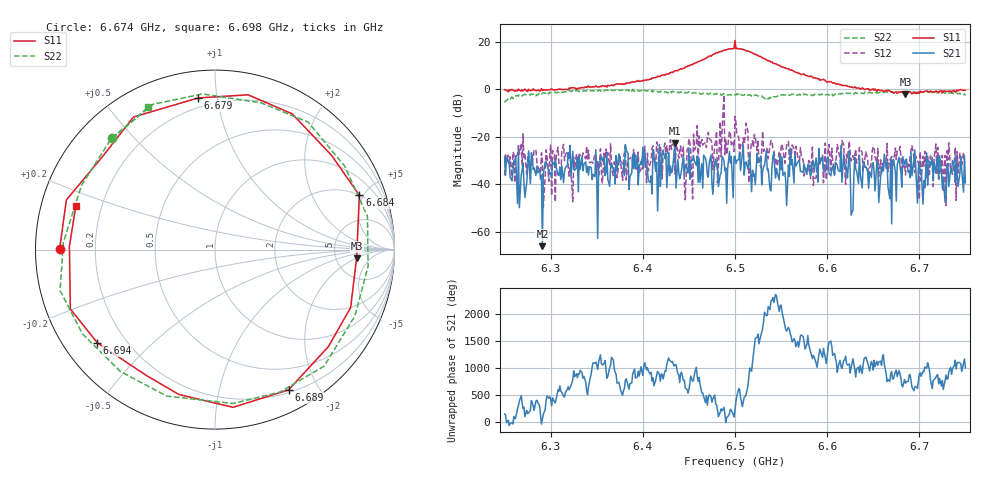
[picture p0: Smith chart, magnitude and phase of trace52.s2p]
# Hz S RI R 50
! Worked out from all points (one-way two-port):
!   401 points, 6.25 GHz to 6.75 GHz, reference 50 ohm
!   highest |S21| = -22.84 dB at 6.435 GHz (marker M1); lowest = -66.1 dB at 6.291 GHz (marker M2)
!   lowest |S11| = -2.0 dB at 6.685 GHz (marker M3), VSWR 8.54, Z = 401 - j101 ohm
!   |S11| at or under -10 dB: nowhere
!   |S22| runs from -5.7 to -0.1 dB; largest |S21 - S12| = 0.79
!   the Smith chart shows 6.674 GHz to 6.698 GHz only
!   S11 on the Smith chart (normalised r, x): 6.674 GHz: 0.07, +0.00; 6.679 GHz: 0.14, +0.88; 6.684 GHz: 2.02, +4.66; 6.689 GHz: 0.23, -1.63; 6.694 GHz: 0.10, -0.34; 6.698 GHz: 0.11, +0.15
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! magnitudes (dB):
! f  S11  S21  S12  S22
! 6.25 GHz  -0.3  -28.5  -36.3  -5.7
! 6.268 GHz  -0.8  -36.1  -22.8  -2.9
! 6.291 GHz  -0.5  -66.1  -30.1  -1.7
! 6.295 GHz  -0.2  -30.5  -25.6  -2.2
! 6.334 GHz  0.7  -28.5  -28.7  -1.1
! 6.418 GHz  5.3  -23.3  -35.3  -1.3
! 6.435 GHz  7.7  -22.8  -35.8  -1.2
! 6.445 GHz  8.8  -35.9  -39.1  -1.7
! 6.5 GHz  20.5  -28.2  -11.5  -2.3
! 6.584 GHz  5.1  -31.1  -24.4  -2.7
! 6.618 GHz  1.6  -27.5  -23.6  -1.8
! 6.628 GHz  0.6  -50.9  -28.0  -1.8
! 6.662 GHz  -0.9  -27.4  -29.7  -1.2
! 6.668 GHz  -0.8  -46.1  -29.8  -1.6
! 6.674 GHz  -1.3  -34.7  -24.8  -1.4
! 6.679 GHz  -1.4  -32.4  -24.1  -1.1
! 6.684 GHz  -1.3  -31.7  -31.1  -1.3
! 6.685 GHz  -2.0  -29.9  -36.1  -1.0
! 6.689 GHz  -1.1  -34.4  -32.6  -1.3
! 6.694 GHz  -1.6  -30.4  -28.3  -1.5
! 6.698 GHz  -1.8  -48.0  -30.4  -1.1
! 6.75 GHz  -0.5  -39.4  -30.8  -2.7
